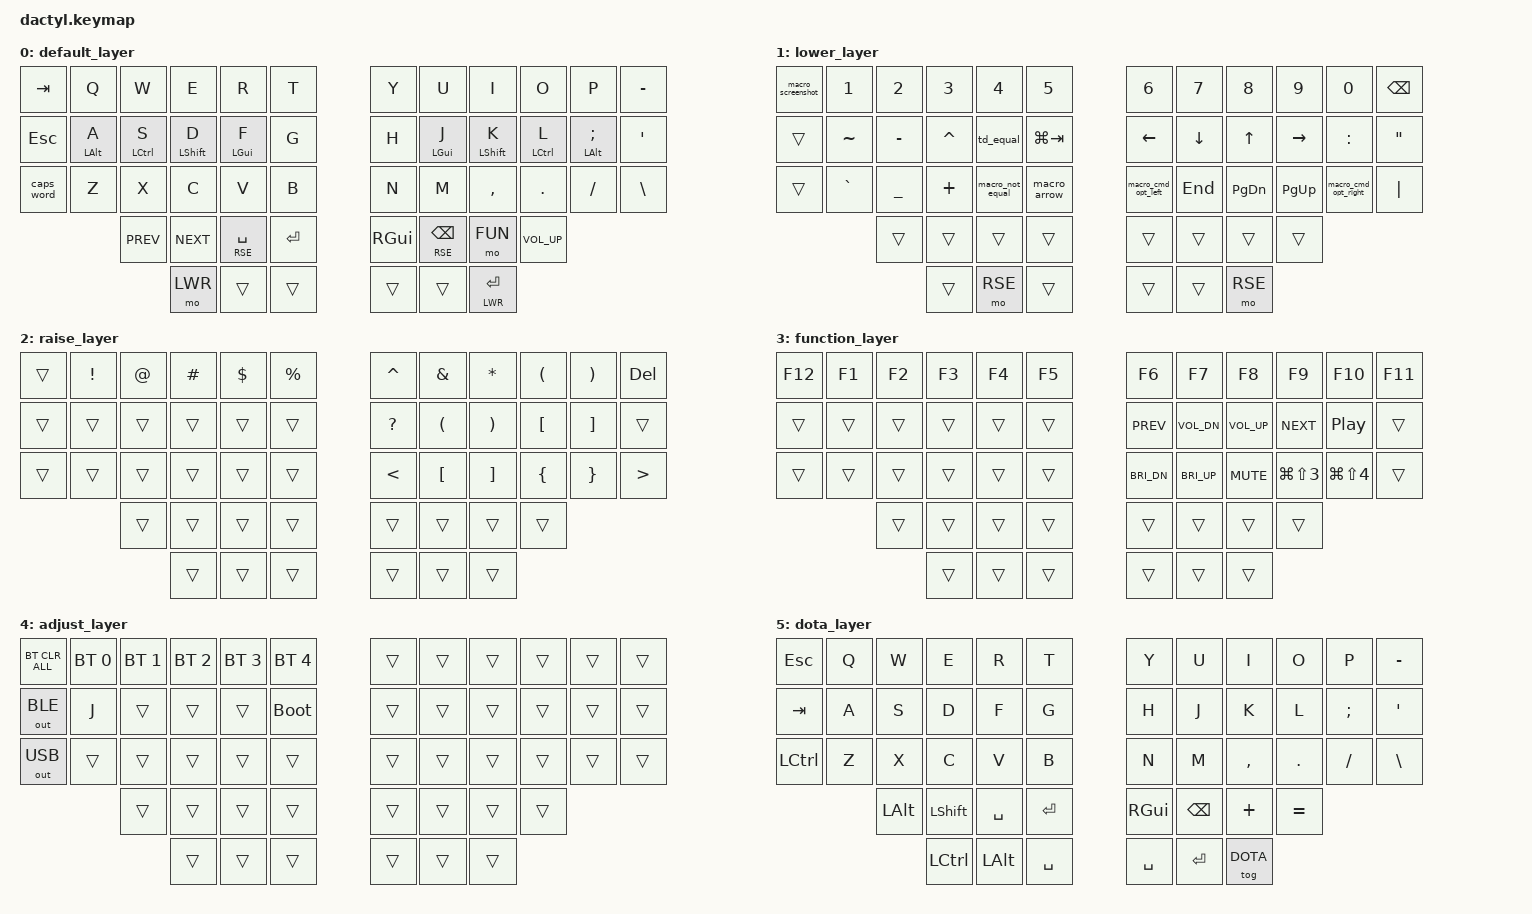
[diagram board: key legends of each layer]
#include <behaviors.dtsi>
#include <dt-bindings/zmk/bt.h>
#include <dt-bindings/zmk/keys.h>
#include <dt-bindings/zmk/outputs.h>

// #include "includes/home_row.dtsi"
#define DEFAULT 0
#define LWR 1
#define RSE 2
#define FUN 3
#define ADJ 4
#define DOTA 5
#define xxx &none
#define ___ &trans
#define BTSEL &bt BT_SEL
#define COMBO(name, kp, pos) \
combo_##name {               \
    timeout-ms    = <30>;    \
    bindings      = <kp>;    \
    key-positions = <pos>;   \
    layers        = <0 1>;   \
};

&mt {
    tapping-term-ms = <400>;
    quick-tap-ms = <100>;
};

/{
    combos {
        compatible = "zmk,combos";
        COMBO(caps_word, &caps_word, 7 8)
        // Combos específicos para macOS
        COMBO(copy, &kp LG(C), 26 27)        // C+V para Cmd+C (macOS)
        COMBO(paste, &kp LG(V), 27 28)       // V+B para Cmd+V (macOS)
        COMBO(undo, &kp LG(Z), 25 26)        // Z+X para Cmd+Z (macOS)
        COMBO(save, &kp LG(S), 13 14)        // S+D para Cmd+S (macOS)
        COMBO(find, &kp LG(F), 15 16)        // F+G para Cmd+F (macOS)
        COMBO(alt_tab, &kp LG(TAB), 1 2)     // Q+W para Cmd+Tab (macOS)
        COMBO(spotlight, &kp LG(SPACE), 2 3) // W+E para Cmd+Space (Spotlight)
        COMBO(mission_control, &kp LC(UP), 17 18) // J+K para Mission Control
        // Brackets e símbolos comuns
        COMBO(parens, &kp LPAR, 8 9)         // I+O para (
        COMBO(braces, &kp LBRC, 9 10)        // O+P para {
        COMBO(brackets, &kp LBKT, 21 22)     // ,+. para [
        COMBO(quotes, &kp DQT, 22 23)        // .+/ para "
        COMBO(comment, &td_comment, 23 11)   // /+\ para comentário inteligente
        // Combos específicos para macOS e desenvolvimento
        COMBO(new_tab, &kp LG(T), 4 5)       // R+T para Cmd+T (nova aba)
        COMBO(close_tab, &kp LG(W), 3 4)     // E+R para Cmd+W (fechar aba)
        COMBO(reload, &kp LG(R), 5 6)        // T+Y para Cmd+R (reload)
        COMBO(dev_tools, &kp LG(LA(I)), 6 7) // Y+U para Cmd+Opt+I (DevTools)
        COMBO(escape, &kp ESC, 0 12)         // Tab+Esc para ESC rápido
        COMBO(dota, &tog DOTA, 0 1 2)        // Tab+Q+W toggle for Dota 2 layer
    };
    behaviors {
        bhm: balanced_homerow_mods {
            compatible = "zmk,behavior-hold-tap";
            #binding-cells = <2>;
            tapping-term-ms = <200>;
            quick-tap-ms = <0>;
            flavor = "balanced";
            bindings = <&kp>, <&kp>;
        };

        // Macro para comentários de linha dupla
        td_comment: tap_dance_comment {
            compatible = "zmk,behavior-tap-dance";
            #binding-cells = <0>;
            tapping-term-ms = <200>;
            bindings = <&kp FSLH>, <&macro_comment>;
        };

        // Macro para operadores de comparação
        td_equal: tap_dance_equal {
            compatible = "zmk,behavior-tap-dance";
            #binding-cells = <0>;
            tapping-term-ms = <200>;
            bindings = <&kp EQUAL>, <&macro_equal_equal>;
        };
    };

    macros {
        macro_comment: macro_comment {
            compatible = "zmk,behavior-macro";
            #binding-cells = <0>;
            bindings = <&kp FSLH &kp FSLH &kp SPACE>;
        };

        macro_equal_equal: macro_equal_equal {
            compatible = "zmk,behavior-macro";
            #binding-cells = <0>;
            bindings = <&kp EQUAL &kp EQUAL>;
        };

        macro_not_equal: macro_not_equal {
            compatible = "zmk,behavior-macro";
            #binding-cells = <0>;
            bindings = <&kp EXCL &kp EQUAL>;
        };

        macro_arrow: macro_arrow {
            compatible = "zmk,behavior-macro";
            #binding-cells = <0>;
            bindings = <&kp EQUAL &kp GT>;
        };

        // Macros específicos para macOS/desenvolvimento
        macro_cmd_opt_left: macro_cmd_opt_left {
            compatible = "zmk,behavior-macro";
            #binding-cells = <0>;
            bindings = <&kp LG(LA(LEFT))>;
        };

        macro_cmd_opt_right: macro_cmd_opt_right {
            compatible = "zmk,behavior-macro";
            #binding-cells = <0>;
            bindings = <&kp LG(LA(RIGHT))>;
        };

        macro_screenshot: macro_screenshot {
            compatible = "zmk,behavior-macro";
            #binding-cells = <0>;
            bindings = <&kp LG(LS(N4))>;
        };
    };
    keymap {
        compatible = "zmk,keymap";
        default_layer {
            bindings = <
                        &kp TAB     &kp Q           &kp W           &kp E           &kp R           &kp T                            &kp Y       &kp U           &kp I           &kp O           &kp P               &kp MINUS
                        &kp ESCAPE  &bhm LALT A     &bhm LCTRL S     &bhm LSHFT D    &bhm LGUI F    &kp G                            &kp H       &bhm LGUI J    &bhm LSHIFT K   &bhm LCTRL L     &bhm LALT SEMI      &kp SQT
                        &caps_word  &kp Z           &kp X           &kp C           &kp V           &kp B                            &kp N       &kp M           &kp COMMA       &kp DOT         &kp FSLH            &kp BSLH
                                                    &kp C_PREV      &kp C_NEXT      &lt RSE SPACE   &kp ENTER                        &kp RGUI    &lt RSE BSPC    &mo FUN         &kp C_VOL_UP
                                                                    &mo LWR         ___             ___                              ___         ___             &lt LWR RETURN
            >;
        };

        lower_layer {
            bindings = <
                        &macro_screenshot &kp N1    &kp N2          &kp N3          &kp N4          &kp N5                              &kp N6      &kp N7      &kp N8              &kp N9          &kp N0      &kp BSPC
                        ___         &kp TILDE   &kp MINUS       &kp CARET       &td_equal       &kp LG(TAB)                         &kp LEFT    &kp DOWN    &kp UP              &kp RIGHT       &kp COLON   &kp DQT
                        ___         &kp GRAVE   &kp UNDER       &kp PLUS        &macro_not_equal &macro_arrow                       &macro_cmd_opt_left &kp END &kp PAGE_DOWN   &kp PG_UP       &macro_cmd_opt_right &kp PIPE
                                    ___         ___             ___             ___             ___                                 ___         ___         ___
                                                                ___             &mo RSE         ___                                 ___         ___         &mo RSE
            >;
        };

        raise_layer {
            bindings = <
                        ___     &kp EXCL    &kp AT      &kp HASH    &kp DLLR    &kp PRCNT                               &kp CARET   &kp AMPS        &kp ASTRK           &kp LPAR        &kp RPAR    &kp DEL
                        ___     ___         ___         ___         ___         ___                                     &kp QMARK   &kp LPAR        &kp RPAR            &kp LBKT        &kp RBKT    ___
                        ___     ___         ___         ___         ___         ___                                     &kp LT      &kp LEFT_BRACKET &kp RIGHT_BRACKET  &kp LBRC        &kp RBRC    &kp GT
                                            ___         ___         ___         ___                                     ___         ___             ___                 ___
                                                        ___         ___         ___                                     ___         ___             ___
            >;
        };

        function_layer {
            bindings = <
                        &kp F12     &kp F1      &kp F2      &kp F3      &kp F4      &kp F5                              &kp F6      &kp F7          &kp F8          &kp F9          &kp F10     &kp F11
                        ___         ___         ___         ___         ___         ___                                 &kp C_PREV  &kp C_VOL_DN    &kp C_VOL_UP    &kp C_NEXT      &kp C_PP    ___
                        ___         ___         ___         ___         ___         ___                                 &kp C_BRI_DN &kp C_BRI_UP   &kp C_MUTE      &kp LG(LS(N3))  &kp LG(LS(N4)) ___
                                                ___         ___         ___         ___                                 ___         ___             ___             ___
                                                            ___         ___         ___                                 ___         ___             ___
            >;
        };

        adjust_layer {
            bindings = <
                        &bt BT_CLR_ALL  BTSEL 0 BTSEL 1  BTSEL 2   BTSEL 3   BTSEL 4                    &trans  &trans  &trans  &trans  &trans  &trans
                        &out OUT_BLE    &kp J   ___   ___    ___    &bootloader                         ___     ___     ___     ___     ___     ___
                        &out OUT_USB    ___     ___   ___    ___    ___                                 ___     ___     ___     ___     ___     ___
                                                ___   ___    ___    ___                                 ___     ___     ___     ___
                                                      ___    ___    ___                                 ___     ___     ___
            >;
        };

        dota_layer {
            bindings = <
                        &kp ESC    &kp Q       &kp W       &kp E       &kp R       &kp T                            &kp Y       &kp U       &kp I       &kp O       &kp P       &kp MINUS
                        &kp TAB    &kp A       &kp S       &kp D       &kp F       &kp G                            &kp H       &kp J       &kp K       &kp L       &kp SEMI    &kp SQT
                        &kp LCTRL  &kp Z       &kp X       &kp C       &kp V       &kp B                            &kp N       &kp M       &kp COMMA   &kp DOT     &kp FSLH    &kp BSLH
                                                &kp LALT    &kp LSHFT   &kp SPACE   &kp ENTER                        &kp RGUI    &kp BSPC    &kp PLUS    &kp EQUAL
                                                            &kp LCTRL   &kp LALT    &kp SPACE                        &kp SPACE   &kp ENTER   &tog DOTA
            >;
        };

    };
    conditional_layers {
        compatible = "zmk,conditional-layers";

        adjust {
            if-layers = <1 2>;
            then-layer = <4>;
        };
    };
};
